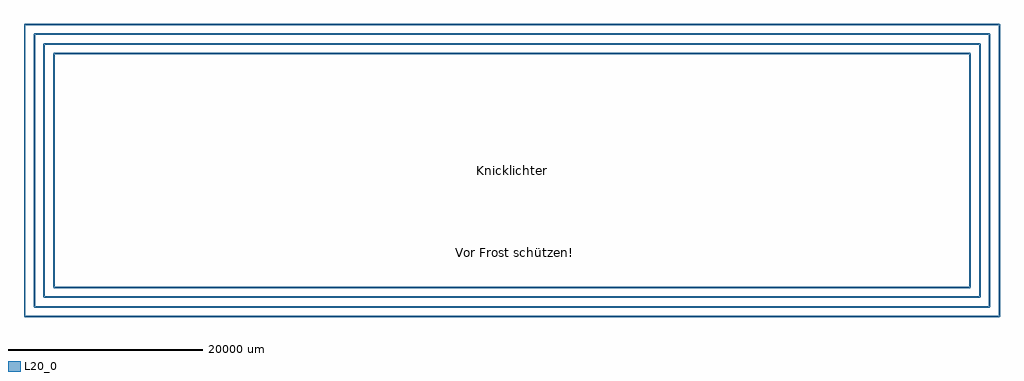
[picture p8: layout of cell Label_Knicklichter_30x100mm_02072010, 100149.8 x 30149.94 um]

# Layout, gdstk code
import gdstk
lib = gdstk.Library(unit=1e-6, precision=1e-09)
L20_0 = (20, 0)

label_knicklichter_30x10 = lib.new_cell('Label_Knicklichter_30x100mm_02072010')
label_knicklichter_30x10.add(gdstk.FlexPath([(-50038,-14986),(-50038,-14737.08)], 149.998, ends="flush", simple_path=True, layer=20, datatype=0))  # L20_0
label_knicklichter_30x10.add(gdstk.FlexPath([(-50038,15013.94),(-50038,-14986)], 149.998, ends="flush", simple_path=True, layer=20, datatype=0))  # L20_0
label_knicklichter_30x10.add(gdstk.FlexPath([(49961.8,15013.94),(-50038,15013.94)], 149.998, ends="flush", simple_path=True, layer=20, datatype=0))  # L20_0
label_knicklichter_30x10.add(gdstk.FlexPath([(49961.8,-14986),(49961.8,15013.94)], 149.998, ends="flush", simple_path=True, layer=20, datatype=0))  # L20_0
label_knicklichter_30x10.add(gdstk.FlexPath([(-50038,-14986),(49961.8,-14986)], 149.998, ends="flush", simple_path=True, layer=20, datatype=0))  # L20_0
label_knicklichter_30x10.add(gdstk.FlexPath([(-49037.24,14013.18),(-49037.24,-13985.24)], 149.998, ends="flush", simple_path=True, layer=20, datatype=0))  # L20_0
label_knicklichter_30x10.add(gdstk.FlexPath([(48961.04,14013.18),(-49037.24,14013.18)], 149.998, ends="flush", simple_path=True, layer=20, datatype=0))  # L20_0
label_knicklichter_30x10.add(gdstk.FlexPath([(48961.04,-13985.24),(48961.04,14013.18)], 149.998, ends="flush", simple_path=True, layer=20, datatype=0))  # L20_0
label_knicklichter_30x10.add(gdstk.FlexPath([(-49037.24,-13985.24),(48961.04,-13985.24)], 149.998, ends="flush", simple_path=True, layer=20, datatype=0))  # L20_0
label_knicklichter_30x10.add(gdstk.FlexPath([(-48039.02,13014.96),(-48039.02,-12987.02)], 149.998, ends="flush", simple_path=True, layer=20, datatype=0))  # L20_0
label_knicklichter_30x10.add(gdstk.FlexPath([(47962.82,13014.96),(-48039.02,13014.96)], 149.998, ends="flush", simple_path=True, layer=20, datatype=0))  # L20_0
label_knicklichter_30x10.add(gdstk.FlexPath([(47962.82,-12987.02),(47962.82,13014.96)], 149.998, ends="flush", simple_path=True, layer=20, datatype=0))  # L20_0
label_knicklichter_30x10.add(gdstk.FlexPath([(-48039.02,-12987.02),(47962.82,-12987.02)], 149.998, ends="flush", simple_path=True, layer=20, datatype=0))  # L20_0
label_knicklichter_30x10.add(gdstk.FlexPath([(46962.06,12014.2),(-47038.26,12014.2)], 149.998, ends="flush", simple_path=True, layer=20, datatype=0))  # L20_0
label_knicklichter_30x10.add(gdstk.FlexPath([(46962.06,-11986.26),(46962.06,12014.2)], 149.998, ends="flush", simple_path=True, layer=20, datatype=0))  # L20_0
label_knicklichter_30x10.add(gdstk.FlexPath([(-47038.26,-11986.26),(46962.06,-11986.26)], 149.998, ends="flush", simple_path=True, layer=20, datatype=0))  # L20_0
label_knicklichter_30x10.add(gdstk.FlexPath([(-47038.26,12014.2),(-47038.26,-11986.26)], 149.998, ends="flush", simple_path=True, layer=20, datatype=0))  # L20_0
label_knicklichter_30x10.add(gdstk.Label('Knicklichter', (-38.1,15.24), layer=9, texttype=0))
label_knicklichter_30x10.add(gdstk.Label('Vor Frost schützen!', (254,-8382), layer=9, texttype=0))
label_knicklichter_30x10.add(gdstk.Label('type', (0,-20320), layer=9, texttype=0))
label_knicklichter_30x10.add(gdstk.Label('devicename', (0,19304), layer=9, texttype=0))

lib.write_gds('Label_Knicklichter_30x100mm_02072010.gds')
